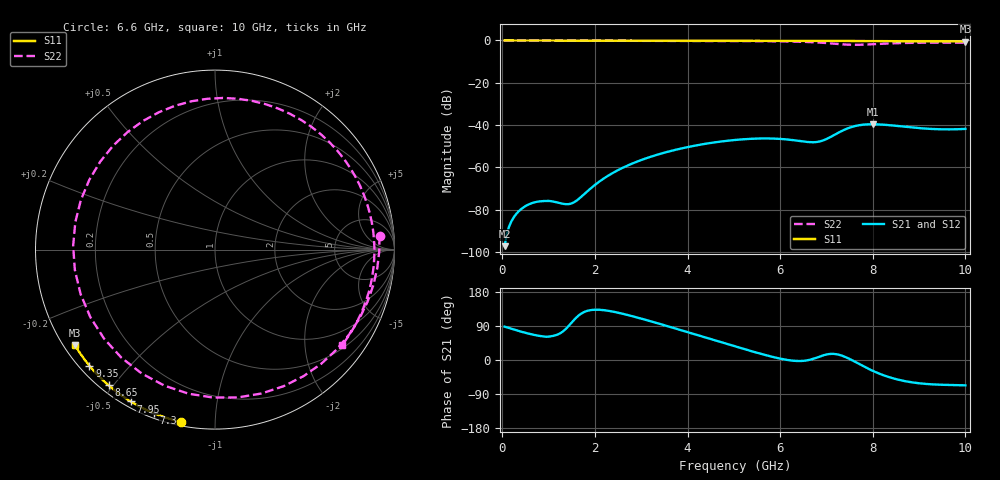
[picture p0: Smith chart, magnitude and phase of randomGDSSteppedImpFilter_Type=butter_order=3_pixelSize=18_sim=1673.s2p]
! freq	dB(S11)	phase(S11)	dB(S12)	phase(S12)
!  dB(S21)	phase(S21)	dB(S22)	phase(S22)
!S-par simulation data
#  GHz  S  DB  R 50
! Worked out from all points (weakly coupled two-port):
!   200 points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, 50 MHz to 10 GHz, reference 50 ohm
!   highest |S21| = -39.57 dB at 8 GHz (marker M1); lowest = -97.2 dB at 50 MHz (marker M2)
!   lowest |S11| = -0.5 dB at 10 GHz (marker M3), VSWR 34.87, Z = 1.57 - j15.4 ohm
!   |S11| at or under -10 dB: nowhere
!   |S22| runs from -2.1 to 0.0 dB; largest |S21 - S12| = 0
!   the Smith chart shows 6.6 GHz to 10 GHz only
!   S11 on the Smith chart (normalised r, x): 6.6 GHz: 0.02, -0.82; 7.3 GHz: 0.02, -0.69; 7.95 GHz: 0.02, -0.59; 8.65 GHz: 0.02, -0.49; 9.35 GHz: 0.03, -0.39; 10 GHz: 0.03, -0.31
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0.05  -0.00 -0.9  -97.18 88.0  -97.18 88.0  -0.00 -3.2
0.95  -0.02 -15.9  -75.81 61.3  -75.81 61.3  -0.07 -57.7
1.45  -0.03 -24.1  -77.26 92.1  -77.26 92.1  -0.10 -85.2
1.75  -0.04 -29.0  -72.97 125.6  -72.97 125.6  -0.11 -100.6
2.6  -0.06 -42.7  -60.16 122.0  -60.16 122.0  -0.14 -140.3
3.4  -0.07 -55.2  -53.62 95.3  -53.62 95.3  -0.17 -174.4
4.2  -0.09 -67.3  -49.52 66.2  -49.52 66.2  -0.21 151.8
5.05  -0.12 -79.7  -46.95 35.1  -46.95 35.1  -0.27 112.7
5.9  -0.16 -91.6  -46.39 6.4  -46.39 6.4  -0.40 63.8
6.25  -0.17 -96.4  -47.01 -1.5  -47.01 -1.5  -0.51 37.6
6.6  -0.19 -101.2  -47.98 -0.5  -47.98 -0.5  -0.73 4.8
6.7  -0.20 -102.5  -48.08 2.5  -48.08 2.5  -0.82 -6.5
7  -0.22 -106.5  -46.57 14.5  -46.57 14.5  -1.22 -47.1
7.3  -0.24 -110.5  -43.09 12.8  -43.09 12.8  -1.76 -100.3
7.6  -0.26 -114.5  -40.52 -3.6  -40.52 -3.6  -2.06 -161.7
7.75  -0.27 -116.4  -39.89 -13.4  -39.89 -13.4  -2.01 168.9
7.95  -0.29 -119.0  -39.58 -25.8  -39.58 -25.8  -1.82 134.3
8  -0.29 -119.7  -39.57 -28.7  -39.57 -28.7  -1.77 126.6
8.35  -0.32 -124.2  -40.00 -45.1  -40.00 -45.1  -1.41 81.4
8.65  -0.35 -128.1  -40.66 -54.7  -40.66 -54.7  -1.21 51.8
9.35  -0.42 -137.2  -41.88 -64.7  -41.88 -64.7  -1.03 -0.0
10  -0.50 -145.8  -41.78 -66.8  -41.78 -66.8  -1.06 -37.1
